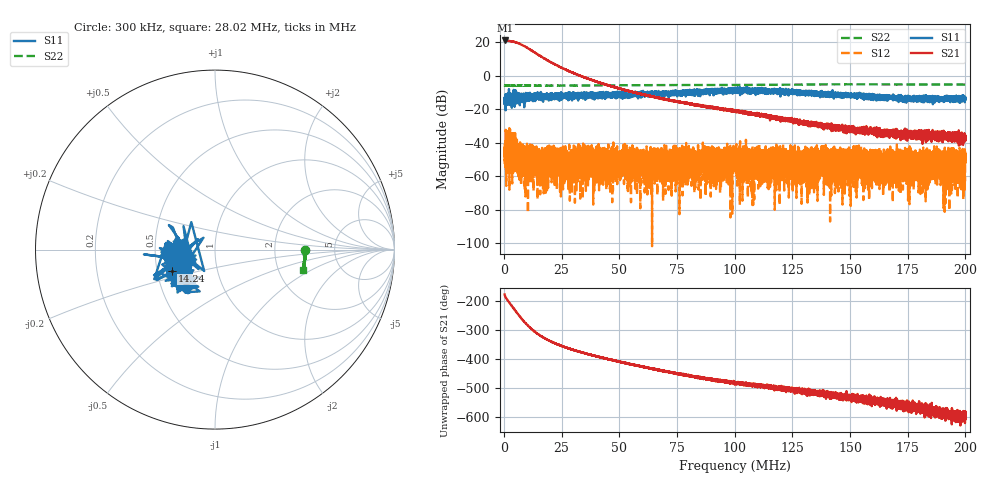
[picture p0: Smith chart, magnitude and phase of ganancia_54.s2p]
# Hz S DB R 50
! CMT, M5065, 19127446, 24.2.4/2
! Date: 11/8/2024 3:21:29 PM
! Data: Format (Calibration Info)
! Freq	S11:dB/Ang(F2)	S21:dB/Ang(F2)	S12:dB/Ang(F2)	S22:dB/Ang(F2)
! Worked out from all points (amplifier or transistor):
!   9000 points, 300 kHz to 200 MHz, reference 50 ohm
!   highest |S21| = 21.0 dB at 544.1 kHz (marker M1)
!   |S21| within 3 dB of that: start of sweep to 8.328 MHz
!   unconditionally stable (mu >= 1): start of sweep to end of sweep
!   at 33.59 MHz: K = 388.61, MAG = 1.4 dB, |S12| = -60.9 dB
!   at 100.2 MHz: K = 883.06, MAG = -18.7 dB, |S12| = -48.4 dB
!   at 200 MHz: K = 10845.64, MAG = -36.0 dB, |S12| = -52.4 dB
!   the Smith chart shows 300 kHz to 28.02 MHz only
!   S11 on the Smith chart (normalised r, x): 300 kHz: 0.72, +0.02; 14.24 MHz: 0.60, -0.15; 28.02 MHz: 0.67, -0.31
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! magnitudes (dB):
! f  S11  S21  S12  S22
! 300 kHz  -15.8  20.9  -48.9  -6.0
! 544.1 kHz  -17.1  21.0  -42.0  -6.0
! 4.894 MHz  -11.2  19.9  -52.4  -6.0
! 6.647 MHz  -13.3  19.1  -51.7  -6.0
! 14.24 MHz  -11.4  13.0  -44.8  -6.0
! 28.02 MHz  -11.5  2.8  -53.8  -5.9
! 33.59 MHz  -10.7  -0.3  -60.9  -5.9
! 56.64 MHz  -11.3  -10.1  -55.9  -5.7
! 64.46 MHz  -11.3  -12.7  -58.9  -5.7
! 66.87 MHz  -11.8  -13.3  -49.7  -5.6
! 83.12 MHz  -9.3  -17.5  -53.9  -5.6
! 85 MHz  -9.8  -18.0  -56.1  -5.6
! 88.62 MHz  -8.9  -18.8  -62.1  -5.6
! 90.75 MHz  -8.5  -18.9  -49.8  -5.6
! 94.5 MHz  -9.5  -20.0  -46.5  -5.5
! 100.2 MHz  -8.5  -20.7  -48.4  -5.5
! 106.7 MHz  -10.5  -23.1  -48.6  -5.5
! 109.5 MHz  -8.9  -22.8  -43.3  -5.5
! 113.9 MHz  -9.7  -24.2  -58.4  -5.5
! 133.4 MHz  -9.8  -28.2  -49.7  -5.3
! 166.7 MHz  -12.8  -34.7  -54.6  -5.2
! 200 MHz  -14.4  -37.6  -52.4  -5.4
